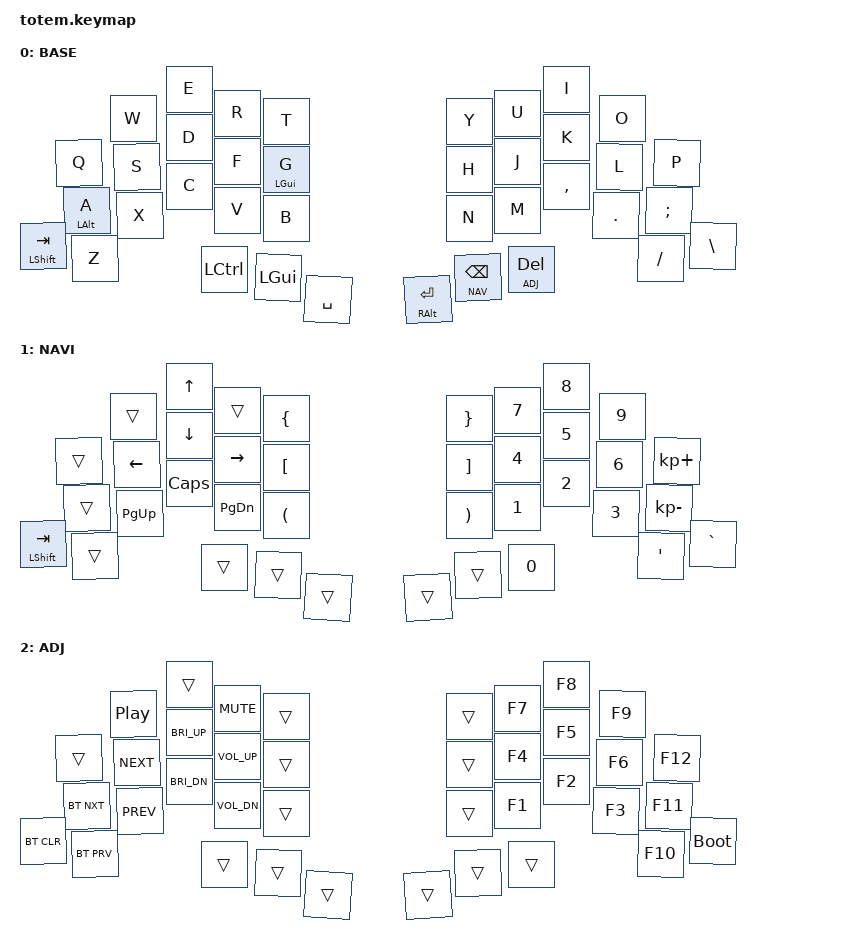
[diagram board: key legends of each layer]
//
//                                                        ▀▀▀▀▀     ▀▀▀▀▀          ▀▀█▀▀
//                                                        ▄▀▀▀▄  ▄  ▄▀▀▀▄  ▄  ▄▀▀▀▄  █  ▄▀▀▀▄
//                                                        █   █  █  █   █  █  █   █  █  █   █
//                                                         ▀▀▀   █   ▀▀▀   █   ▀▀▀   ▀   ▀▀▀
//                                                               █      ▄▄▄█▄▄▄    █   █  
//                                                               ▀      █  █  █     █▄█
//                                                             ▀▀▀▀▀    █  █  █      ▀
//                                                                      ▀  ▀  ▀
//
// ▄▄▄▄▄▄▄▄▄▄▄▄▄▄▄▄▄▄▄▄▄▄▄▄▄▄▄▄▄▄▄▄▄▄▄▄▄▄▄▄▄▄▄▄▄▄▄▄▄▄▄▄▄▄▄▄▄▄▄▄▄▄▄▄▄▄▄▄▄▄▄▄▄▄▄▄▄▄▄▄▄▄▄▄▄▄▄▄▄▄▄▄▄▄▄▄▄▄▄▄▄▄▄▄▄▄▄▄▄▄▄▄▄▄▄▄▄▄▄▄▄▄▄▄▄▄▄▄▄▄▄▄▄▄▄▄▄▄▄▄▄▄▄▄▄▄▄▄▄
       

#include <behaviors.dtsi>
#include <dt-bindings/zmk/keys.h>
#include <dt-bindings/zmk/bt.h>
#include <dt-bindings/zmk/outputs.h>

#define BASE 0
#define NAV  1
#define ADJ  2

&mt {
  quick-tap-ms = <100>;
  global-quick-tap;
  flavor = "tap-preferred";
  tapping-term-ms = <200>;
};

/ {
     combos {
            compatible = "zmk,combos";
            combo_esc {
                timeout-ms = <50>;
                key-positions = <0 1>;
                bindings = <&kp ESC>;
            };
    };


        keymap {
                compatible = "zmk,keymap";
// ▄▄▄▄▄▄▄▄▄▄▄▄▄▄▄▄▄▄▄▄▄▄▄▄▄▄▄▄▄▄▄▄▄▄▄▄▄▄▄▄▄▄▄▄▄▄▄▄▄▄▄▄▄▄▄▄▄▄▄▄▄▄▄▄▄▄▄▄▄▄▄▄▄▄▄▄▄▄▄▄▄▄▄▄▄▄▄▄▄▄▄▄▄▄▄▄▄▄▄▄▄▄▄▄▄▄▄▄▄▄▄▄▄▄▄▄▄▄▄▄▄▄▄▄▄▄▄▄▄▄▄▄▄▄▄▄▄▄▄▄▄▄▄▄▄▄▄▄▄

                base_layer {
label= "BASE";
 bindings = <
                &kp Q       &kp W       &kp E       &kp R       &kp T           &kp Y       &kp U       &kp I       &kp O       &kp P
                &mt LALT A  &kp S       &kp D       &kp F       &mt LGUI G      &kp H       &kp J       &kp K       &kp L       &kp SEMI
    &mt LSHFT TAB   &kp Z       &kp X       &kp C       &kp V       &kp B           &kp N       &kp M       &kp COMMA   &kp DOT     &kp FSLH    &kp BSLH
                                        &kp LCTRL &kp LGUI      &kp SPACE       &mt RALT RET   &lt NAV BSPC  &lt ADJ DEL
                        >;
                };

// ▄▄▄▄▄▄▄▄▄▄▄▄▄▄▄▄▄▄▄▄▄▄▄▄▄▄▄▄▄▄▄▄▄▄▄▄▄▄▄▄▄▄▄▄▄▄▄▄▄▄▄▄▄▄▄▄▄▄▄▄▄▄▄▄▄▄▄▄▄▄▄▄▄▄▄▄▄▄▄▄▄▄▄▄▄▄▄▄▄▄▄▄▄▄▄▄▄▄▄▄▄▄▄▄▄▄▄▄▄▄▄▄▄▄▄▄▄▄▄▄▄▄▄▄▄▄▄▄▄▄▄▄▄▄▄▄▄▄▄▄▄▄▄▄▄▄▄▄▄


                nav_layer {
label= "NAVI";
 bindings = <
                &trans      &trans      &kp UP      &trans      &kp LBRC        &kp RBRC    &kp N7      &kp N8      &kp N9      &kp KP_PLUS
                &trans      &kp LEFT    &kp DOWN    &kp RIGHT   &kp LBKT        &kp RBKT    &kp N4      &kp N5      &kp N6      &kp KP_MINUS
    &mt LSHFT TAB   &trans      &kp PG_UP   &kp CAPS    &kp PG_DN   &kp LPAR        &kp RPAR    &kp N1      &kp N2      &kp N3      &kp SQT         &kp GRAVE
                                        &trans      &trans      &trans          &trans      &trans      &kp N0
                        >;
                };

// ▄▄▄▄▄▄▄▄▄▄▄▄▄▄▄▄▄▄▄▄▄▄▄▄▄▄▄▄▄▄▄▄▄▄▄▄▄▄▄▄▄▄▄▄▄▄▄▄▄▄▄▄▄▄▄▄▄▄▄▄▄▄▄▄▄▄▄▄▄▄▄▄▄▄▄▄▄▄▄▄▄▄▄▄▄▄▄▄▄▄▄▄▄▄▄▄▄▄▄▄▄▄▄▄▄▄▄▄▄▄▄▄▄▄▄▄▄▄▄▄▄▄▄▄▄▄▄▄▄▄▄▄▄▄▄▄▄▄▄▄▄▄▄▄▄▄▄▄▄


                adjust_layer {
label= "ADJ";
 bindings = <
                &trans      &kp C_PP    &trans      &kp C_MUTE  &trans          &trans      &kp F7      &kp F8      &kp F9      &kp F12
                &bt BT_NXT  &kp C_NEXT  &kp C_BRI_UP &kp C_VOL_UP &trans        &trans      &kp F4      &kp F5      &kp F6      &kp F11
    &bt BT_CLR  &bt BT_PRV  &kp C_PREV  &kp C_BRI_DN &kp C_VOL_DN &trans        &trans      &kp F1      &kp F2      &kp F3      &kp F10     &bootloader
                                        &trans      &trans      &trans          &trans      &trans      &trans
                        >;
                };

        };
};
